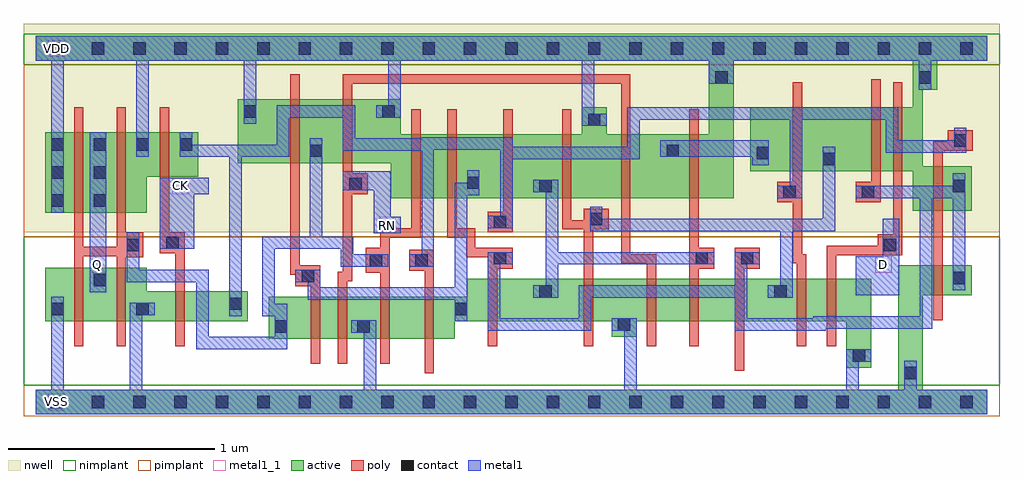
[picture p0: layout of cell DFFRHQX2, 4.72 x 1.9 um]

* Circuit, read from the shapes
.subckt DFFRHQX2 CK D Q RN VDD VSS
M1 Q n1 VSS VSS nfet w=0.26u l=0.045u m=2
M2 n2 CK VSS VSS nfet w=0.145u l=0.045u
M3 n3 n4 n1 VSS nfet w=0.205u l=0.045u
M4 VSS RN n3 VSS nfet w=0.205u l=0.045u
M5 n5 n1 VSS VSS nfet w=0.205u l=0.045u
M6 n4 n2 n5 VSS nfet w=0.205u l=0.045u
M7 n6 n7 n4 VSS nfet w=0.205u l=0.045u
M8 VSS n8 n6 VSS nfet w=0.205u l=0.045u
M9 n9 RN VSS VSS nfet w=0.205u l=0.045u
M10 n10 n6 n9 VSS nfet w=0.205u l=0.045u
M11 n8 n7 n10 VSS nfet w=0.205u l=0.045u
M12 n11 n2 n8 VSS nfet w=0.205u l=0.045u
M13 VSS D n11 VSS nfet w=0.205u l=0.045u
M14 n7 n2 VSS VSS nfet w=0.145u l=0.045u
M15 Q n1 VDD VDD pfet w=0.39u l=0.045u m=2
M16 n2 CK VDD VDD pfet w=0.215u l=0.045u
M17 n1 n4 VDD VDD pfet w=0.31u l=0.045u
M18 VDD RN n1 VDD pfet w=0.31u l=0.045u
M19 n12 n1 VDD VDD pfet w=0.31u l=0.045u
M20 n4 n7 n12 VDD pfet w=0.31u l=0.045u
M21 n6 n2 n4 VDD pfet w=0.31u l=0.045u
M22 VDD n8 n6 VDD pfet w=0.31u l=0.045u
M23 n13 RN VDD VDD pfet w=0.31u l=0.045u
M24 VDD n6 n13 VDD pfet w=0.31u l=0.045u
M25 n8 n2 n13 VDD pfet w=0.31u l=0.045u
M26 n14 n7 n8 VDD pfet w=0.31u l=0.045u
M27 VDD D n14 VDD pfet w=0.31u l=0.045u
M28 n7 n2 VDD VDD pfet w=0.215u l=0.045u
.ends

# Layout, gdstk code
import gdstk
lib = gdstk.Library(unit=1e-6, precision=5e-10)
def R(c, l, rs):  # rectangles x0, y0, x1, y1
    for r in rs: c.add(gdstk.rectangle(r[:2], r[2:], *l))
def A(c, l, x, y, w, h, nx, ny, dx, dy):  # array of equal rectangles
    R(c, l, [(x+i*dx, y+j*dy, x+i*dx+w, y+j*dy+h) for i in range(nx) for j in range(ny)])
def P(c, l, *ps):  # polygons
    for p in ps: c.add(gdstk.Polygon(p, *l))
active = (1, 0)
nwell = (2, 0)
poly = (3, 0)
nimplant = (4, 0)
pimplant = (5, 0)
contact = (6, 0)
metal1 = (7, 0)
metal1_1 = (7, 1)

dffrhqx2 = lib.new_cell('DFFRHQX2')
P(dffrhqx2, active, [(0,1.77),(4.6,1.77),(4.6,1.65),(4.36,1.65),(4.36,1.51),(4.29,1.51),(4.29,1.14),(4.525,1.14),(4.525,0.925),(4.24,0.925),(4.24,1.115),(3.455,1.115),(3.455,1.425),(4.24,1.425),(4.24,1.65),(3.375,1.65),(3.375,0.985),(1.715,0.985),(1.715,1.155),(0.975,1.155),(0.975,1.465),(1.765,1.465),(1.765,1.295),(2.64,1.295),(2.64,1.425),(2.76,1.425),(2.76,1.295),(3.255,1.295),(3.255,1.65),(0,1.65)],
  [(0.045,1.305),(0.785,1.305),(0.785,1.09),(0.535,1.09),(0.535,0.915),(0.045,0.915)],
  [(0.045,0.65),(0.535,0.65),(0.535,0.535),(1.025,0.535),(1.025,0.39),(0.045,0.39)],
  [(2.085,0.595),(4.04,0.595),(4.04,0.165),(3.92,0.165),(3.92,0.39),(2.905,0.39),(2.905,0.315),(2.785,0.315),(2.785,0.39),(2.025,0.39),(2.025,0.305),(1.125,0.305),(1.125,0.51),(2.085,0.51)],
  [(4.17,0.66),(4.525,0.66),(4.525,0.515),(4.29,0.515),(4.29,0.06),(4.6,0.06),(4.6,-0.06),(0,-0.06),(0,0.06),(4.17,0.06)])
R(dffrhqx2, nwell, [(-0.06,0.82,4.66,1.83)])
P(dffrhqx2, poly, [(0.185,1.425),(0.23,1.425),(0.23,0.75),(0.39,0.75),(0.39,1.425),(0.435,1.425),(0.435,0.82),(0.52,0.82),(0.52,0.7),(0.435,0.7),(0.435,0.27),(0.39,0.27),(0.39,0.705),(0.23,0.705),(0.23,0.27),(0.185,0.27)],
  [(1.23,1.585),(1.275,1.585),(1.275,0.66),(1.375,0.66),(1.375,0.185),(1.33,0.185),(1.33,0.56),(1.255,0.56),(1.255,0.615),(1.23,0.615)],
  [(1.485,1.585),(2.875,1.585),(2.875,0.715),(3,0.715),(3,0.27),(2.955,0.27),(2.955,0.67),(2.83,0.67),(2.83,1.54),(1.53,1.54),(1.53,1.105),(1.605,1.105),(1.605,1.005),(1.53,1.005),(1.53,0.585),(1.505,0.585),(1.505,0.185),(1.46,0.185),(1.46,0.63),(1.485,0.63)],
  [(0.6,1.425),(0.645,1.425),(0.645,0.82),(0.72,0.82),(0.72,0.27),(0.675,0.27),(0.675,0.72),(0.6,0.72)],
  [(1.815,1.415),(1.86,1.415),(1.86,0.795),(1.71,0.795),(1.71,0.185),(1.665,0.185),(1.665,0.625),(1.595,0.625),(1.595,0.745),(1.665,0.745),(1.665,0.84),(1.815,0.84)],
  [(1.99,1.415),(2.035,1.415),(2.035,0.84),(2.125,0.84),(2.125,0.745),(2.305,0.745),(2.305,0.645),(2.23,0.645),(2.23,0.27),(2.185,0.27),(2.185,0.7),(2.08,0.7),(2.08,0.795),(1.99,0.795)],
  [(2.26,1.415),(2.305,1.415),(2.305,0.82),(2.185,0.82),(2.185,0.92),(2.26,0.92)],
  [(2.545,1.415),(2.59,1.415),(2.59,0.88),(2.65,0.88),(2.65,0.935),(2.77,0.935),(2.77,0.835),(2.695,0.835),(2.695,0.27),(2.65,0.27),(2.65,0.835),(2.545,0.835)],
  [(3.16,1.415),(3.205,1.415),(3.205,0.745),(3.28,0.745),(3.28,0.645),(3.205,0.645),(3.205,0.27),(3.16,0.27)],
  [(3.66,1.545),(3.705,1.545),(3.705,0.715),(3.725,0.715),(3.725,0.27),(3.68,0.27),(3.68,0.67),(3.66,0.67),(3.66,0.965),(3.585,0.965),(3.585,1.065),(3.66,1.065)],
  [(4.04,1.56),(4.085,1.56),(4.085,0.965),(3.965,0.965),(3.965,1.065),(4.04,1.065)],
  [(4.145,1.545),(4.19,1.545),(4.19,0.71),(3.87,0.71),(3.87,0.27),(3.825,0.27),(3.825,0.755),(4.07,0.755),(4.07,0.81),(4.145,0.81)],
  [(4.41,1.315),(4.53,1.315),(4.53,1.215),(4.385,1.215),(4.385,0.395),(4.34,0.395),(4.34,1.26),(4.41,1.26)],
  [(1.805,0.735),(1.925,0.735),(1.925,0.14),(1.88,0.14),(1.88,0.635),(1.805,0.635)],
  [(3.38,0.745),(3.5,0.745),(3.5,0.645),(3.425,0.645),(3.425,0.15),(3.38,0.15)])
R(dffrhqx2, nimplant, [(-0.06,0.08,4.66,0.8), (-0.06,1.63,4.66,1.78)])
R(dffrhqx2, pimplant, [(-0.06,-0.07,4.66,0.08), (-0.06,0.8,4.66,1.63)])
A(dffrhqx2, contact, 0.07, -0.03, 0.06, 0.06, 23, 2, 0.2, 1.71)
A(dffrhqx2, contact, 0.075, 1.215, 0.06, 0.06, 3, 1, 0.205, 0)
R(dffrhqx2, contact, [(4.2,0.11,4.26,0.17), (3.95,0.195,4.01,0.255), (1.155,0.335,1.215,0.395), (1.555,0.335,1.615,0.395), (2.815,0.345,2.875,0.405), (0.075,0.42,0.135,0.48), (0.485,0.42,0.545,0.48), (2.025,0.42,2.085,0.48), (0.935,0.445,0.995,0.505), (2.435,0.505,2.495,0.565), (3.57,0.505,3.63,0.565), (0.28,0.56,0.34,0.62), (4.435,0.57,4.495,0.63), (1.285,0.58,1.345,0.64), (1.615,0.655,1.675,0.715), (1.835,0.655,1.895,0.715), (2.215,0.665,2.275,0.725), (3.19,0.665,3.25,0.725), (3.41,0.665,3.47,0.725), (0.44,0.73,0.5,0.79), (4.1,0.73,4.16,0.79), (0.63,0.74,0.69,0.8), (2.215,0.84,2.275,0.9), (2.68,0.855,2.74,0.915), (0.075,0.945,0.135,1.005), (0.28,0.945,0.34,1.005), (3.615,0.985,3.675,1.045), (3.995,0.985,4.055,1.045), (2.435,1.015,2.495,1.075), (4.435,1.015,4.495,1.075), (1.515,1.025,1.575,1.085), (2.085,1.03,2.145,1.09), (0.075,1.08,0.135,1.14), (0.28,1.08,0.34,1.14), (3.805,1.145,3.865,1.205), (3.485,1.175,3.545,1.235), (1.325,1.185,1.385,1.245), (3.05,1.185,3.11,1.245), (0.695,1.215,0.755,1.275), (4.44,1.235,4.5,1.295), (2.67,1.335,2.73,1.395), (1.005,1.375,1.065,1.435), (1.675,1.375,1.735,1.435), (3.285,1.54,3.345,1.6), (4.27,1.54,4.33,1.6)])
R(dffrhqx2, metal1, [(0.26,0.53,0.34,1.305)])
P(dffrhqx2, metal1, [(0,1.77),(4.6,1.77),(4.6,1.65),(4.33,1.65),(4.33,1.51),(4.27,1.51),(4.27,1.65),(3.375,1.65),(3.375,1.54),(3.255,1.54),(3.255,1.65),(2.7,1.65),(2.7,1.395),(2.76,1.395),(2.76,1.335),(2.64,1.335),(2.64,1.65),(1.765,1.65),(1.765,1.375),(1.645,1.375),(1.645,1.435),(1.705,1.435),(1.705,1.65),(1.065,1.65),(1.065,1.345),(1.005,1.345),(1.005,1.65),(0.545,1.65),(0.545,1.185),(0.485,1.185),(0.485,1.65),(0.135,1.65),(0.135,0.915),(0.075,0.915),(0.075,1.65),(0,1.65)],
  [(1.165,1.435),(1.545,1.435),(1.545,1.275),(1.865,1.275),(1.865,1.28),(2.305,1.28),(2.305,1.235),(2.86,1.235),(2.86,1.425),(4.17,1.425),(4.17,1.265),(4.44,1.265),(4.44,1.325),(4.5,1.325),(4.5,1.205),(4.11,1.205),(4.11,1.365),(3.705,1.365),(3.705,0.985),(3.585,0.985),(3.585,1.045),(3.645,1.045),(3.645,1.365),(2.92,1.365),(2.92,1.175),(2.305,1.175),(2.305,0.84),(2.185,0.84),(2.185,0.9),(2.245,0.9),(2.245,1.22),(1.925,1.22),(1.925,0.655),(1.805,0.655),(1.805,0.715),(1.865,0.715),(1.865,1.215),(1.485,1.215),(1.485,1.375),(1.225,1.375),(1.225,1.185),(0.995,1.185),(0.995,0.415),(0.935,0.415),(0.935,1.185),(0.695,1.185),(0.695,1.305),(0.755,1.305),(0.755,1.245),(1.165,1.245)],
  [(0.44,0.82),(0.5,0.82),(0.5,0.64),(0.835,0.64),(0.835,0.315),(1.155,0.315),(1.155,0.415),(1.095,0.415),(1.095,0.8),(1.325,0.8),(1.325,1.275),(1.385,1.275),(1.385,0.8),(1.535,0.8),(1.535,0.715),(1.705,0.715),(1.705,0.655),(1.475,0.655),(1.475,0.74),(1.155,0.74),(1.155,0.475),(1.215,0.475),(1.215,0.255),(0.775,0.255),(0.775,0.58),(0.44,0.58)],
  [(0.6,1.085),(0.835,1.085),(0.835,1.005),(0.765,1.005),(0.765,0.74),(0.6,0.74)],
  [(0.075,0.51),(0.135,0.51),(0.135,0.06),(0.455,0.06),(0.455,0.48),(0.575,0.48),(0.575,0.42),(0.515,0.42),(0.515,0.06),(1.585,0.06),(1.585,0.335),(1.525,0.335),(1.525,0.395),(1.645,0.395),(1.645,0.06),(2.845,0.06),(2.845,0.345),(2.785,0.345),(2.785,0.405),(2.905,0.405),(2.905,0.06),(3.92,0.06),(3.92,0.255),(4.04,0.255),(4.04,0.195),(3.98,0.195),(3.98,0.06),(4.2,0.06),(4.2,0.2),(4.26,0.2),(4.26,0.06),(4.6,0.06),(4.6,-0.06),(0,-0.06),(0,0.06),(0.075,0.06)],
  [(1.485,1.115),(1.715,1.115),(1.715,0.895),(1.765,0.895),(1.765,0.815),(1.635,0.815),(1.635,1.025),(1.485,1.025)],
  [(2.085,1.12),(2.145,1.12),(2.145,1),(2.085,1),(2.085,0.39),(2.025,0.39),(2.025,0.495),(1.315,0.495),(1.315,0.58),(1.255,0.58),(1.255,0.64),(1.375,0.64),(1.375,0.555),(2.025,0.555),(2.025,1.06),(2.085,1.06)],
  [(3.02,1.265),(3.545,1.265),(3.545,1.145),(3.465,1.145),(3.465,1.185),(3.02,1.185)],
  [(2.405,1.075),(2.525,1.075),(2.525,0.725),(3.28,0.725),(3.28,0.665),(2.525,0.665),(2.525,0.505),(2.405,0.505),(2.405,0.565),(2.465,0.565),(2.465,1.015),(2.405,1.015)],
  [(4.435,1.105),(4.495,1.105),(4.495,0.54),(4.435,0.54),(4.435,0.985),(4.335,0.985),(4.335,0.355),(3.82,0.355),(3.82,0.345),(3.38,0.345),(3.38,0.505),(2.685,0.505),(2.685,0.345),(2.185,0.345),(2.185,0.725),(2.305,0.725),(2.305,0.665),(2.245,0.665),(2.245,0.405),(2.625,0.405),(2.625,0.565),(3.38,0.565),(3.38,0.725),(3.5,0.725),(3.5,0.665),(3.44,0.665),(3.44,0.405),(3.76,0.405),(3.76,0.415),(4.275,0.415),(4.275,0.985),(3.965,0.985),(3.965,1.045),(4.435,1.045)],
  [(2.68,0.945),(2.74,0.945),(2.74,0.885),(3.805,0.885),(3.805,1.235),(3.865,1.235),(3.865,0.825),(3.66,0.825),(3.66,0.505),(3.54,0.505),(3.54,0.565),(3.6,0.565),(3.6,0.825),(2.68,0.825)],
  [(4.095,0.885),(4.175,0.885),(4.175,0.515),(3.965,0.515),(3.965,0.705),(4.095,0.705)])
R(dffrhqx2, metal1_1, [(0.06,-0.04,0.14,0.04), (0.26,0.625,0.34,0.705), (4.06,0.625,4.14,0.705), (1.66,0.815,1.74,0.895), (0.66,1.005,0.74,1.085), (0.06,1.67,0.14,1.75)])
dffrhqx2.add(gdstk.Label('Q', (0.3,0.665), layer=7, texttype=1))
dffrhqx2.add(gdstk.Label('RN', (1.7,0.855), layer=7, texttype=1))
dffrhqx2.add(gdstk.Label('CK', (0.7,1.045), layer=7, texttype=1))
dffrhqx2.add(gdstk.Label('D', (4.1,0.665), layer=7, texttype=1))
dffrhqx2.add(gdstk.Label('VDD', (0.1,1.71), layer=7, texttype=1))
dffrhqx2.add(gdstk.Label('VSS', (0.1,0), layer=7, texttype=1))
dffrhqx2.add(gdstk.Label('DFFRHQX2', (0,0), layer=63, texttype=0))

lib.write_gds('DFFRHQX2.gds')
